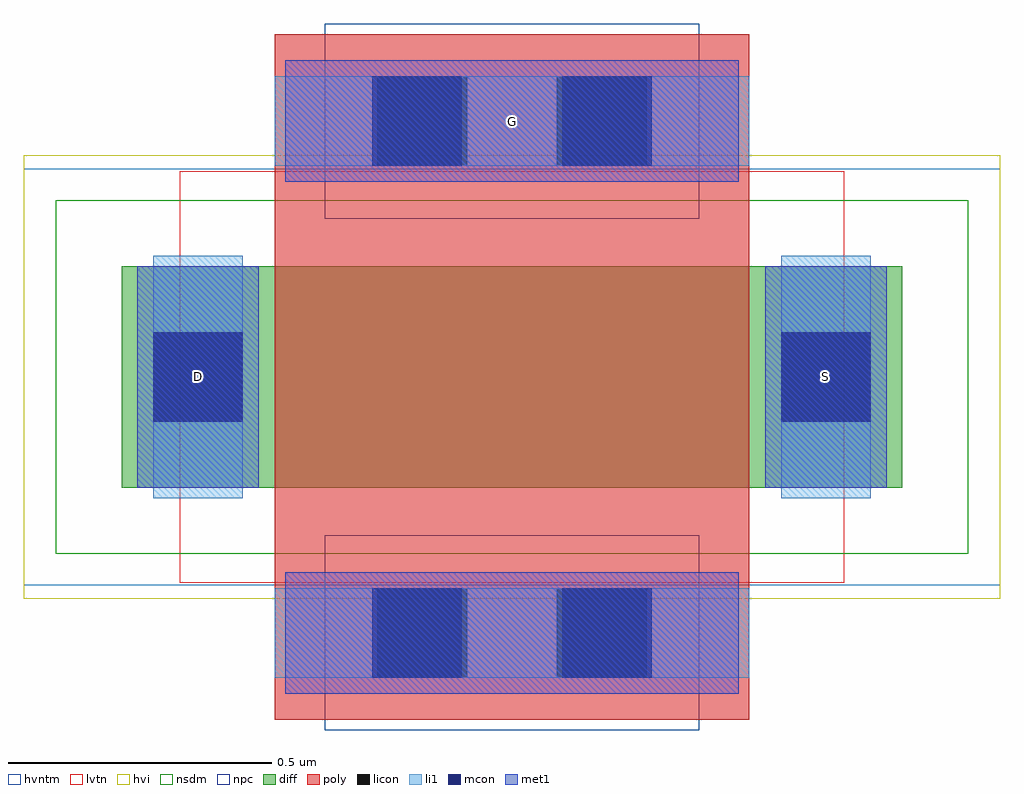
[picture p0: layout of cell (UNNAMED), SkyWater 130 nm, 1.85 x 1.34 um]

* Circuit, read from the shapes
.subckt (UNNAMED) D G S
XM1 S G D VSUBS sky130_fd_pr__nfet_05v0_nvt w=0.42 l=0.9
.ends

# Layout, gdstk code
import gdstk
lib = gdstk.Library(unit=1e-6, precision=1e-09)
def R(c, l, rs):  # rectangles x0, y0, x1, y1
    for r in rs: c.add(gdstk.rectangle(r[:2], r[2:], *l))
diff = (65, 20)
poly = (66, 20)
licon = (66, 44)
li1 = (67, 20)
mcon = (67, 44)
met1 = (68, 20)
hvi = (75, 20)
nsdm = (93, 44)
npc = (95, 20)
hvntm = (125, 20)
lvtn = (125, 44)

c__unnamed_ = lib.new_cell('(UNNAMED)')
R(c__unnamed_, diff, [(-0.74,-0.21,0.74,0.21)])
R(c__unnamed_, poly, [(-0.45,-0.65,0.45,0.65)])
R(c__unnamed_, licon, [(-0.255,-0.57,-0.085,-0.4), (0.085,-0.57,0.255,-0.4), (-0.68,-0.085,-0.51,0.085), (0.51,-0.085,0.68,0.085), (-0.255,0.4,-0.085,0.57), (0.085,0.4,0.255,0.57)])
R(c__unnamed_, li1, [(-0.45,-0.57,0.45,-0.4), (-0.68,-0.23,-0.51,0.23), (0.51,-0.23,0.68,0.23), (-0.45,0.4,0.45,0.57)])
R(c__unnamed_, mcon, [(-0.265,-0.57,-0.095,-0.4), (0.095,-0.57,0.265,-0.4), (-0.68,-0.085,-0.51,0.085), (0.51,-0.085,0.68,0.085), (-0.265,0.4,-0.095,0.57), (0.095,0.4,0.265,0.57)])
R(c__unnamed_, met1, [(-0.43,-0.6,0.43,-0.37), (-0.71,-0.21,-0.48,0.21), (0.48,-0.21,0.71,0.21), (-0.43,0.37,0.43,0.6)])
R(c__unnamed_, hvi, [(-0.925,-0.42,0.925,0.42)])
R(c__unnamed_, nsdm, [(-0.865,-0.335,0.865,0.335)])
R(c__unnamed_, npc, [(-0.355,-0.67,0.355,-0.3), (-0.355,0.3,0.355,0.67)])
R(c__unnamed_, hvntm, [(-0.925,-0.395,0.925,0.395)])
R(c__unnamed_, lvtn, [(-0.63,-0.39,0.63,0.39)])
c__unnamed_.add(gdstk.Label('D', (-0.595,0), layer=67, texttype=5))
c__unnamed_.add(gdstk.Label('S', (0.595,0), layer=67, texttype=5))
c__unnamed_.add(gdstk.Label('G', (0,0.485), layer=67, texttype=5))

lib.write_gds('_UNNAMED_.gds')
